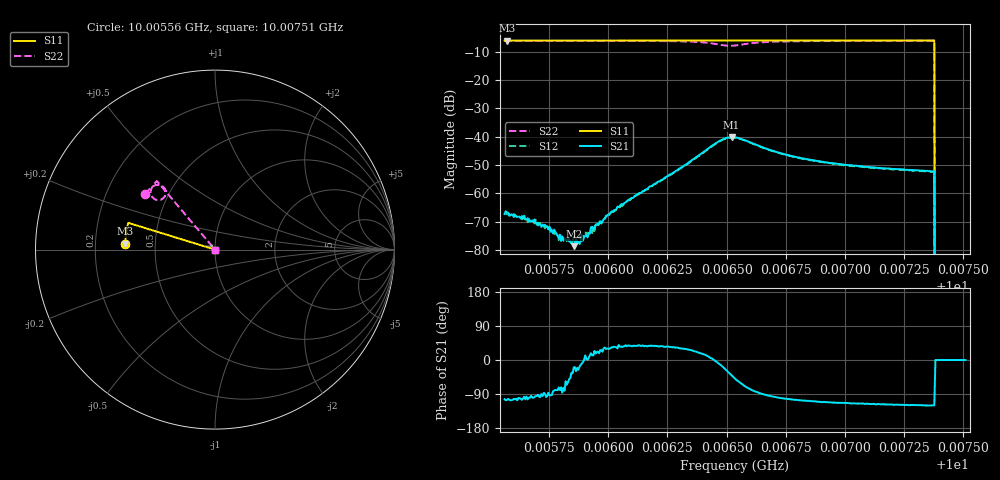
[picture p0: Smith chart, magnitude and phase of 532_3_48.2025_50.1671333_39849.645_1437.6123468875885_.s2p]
#  HZ  S  RI  R  50.00
! Rohde & Schwarz Vector Network Analyzer
! Rohde-Schwarz,ZNB20-2Port,1311601062101988,3.16
! Created: UTC 3/20/2024, 11:59:56 AM
! freq[Hz]  re:S11  im:S11  re:S21  im:S21  re:S12  im:S12  re:S22  im:S22
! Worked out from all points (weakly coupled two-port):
!   401 points, 10.00556 GHz to 10.00751 GHz, reference 50 ohm
!   highest |S21| = -40.18 dB at 10.00652 GHz (marker M1); lowest = -78.7 dB at 10.00585 GHz (marker M2)
!   lowest |S11| = -6.0 dB at 10.00557 GHz (marker M3), VSWR 3.01, Z = 16.6 + j1.5 ohm
!   |S11| at or under -10 dB: 10.00738 GHz to end of sweep
!   |S22| runs from - to -6.0 dB; largest |S21 - S12| = 0.00063
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1.0005562e10  -0.5002 0.033  -9.89e-05 -0.000417  -8.75e-05 -0.000451  -0.3881 0.3099
1.0005572e10  -0.5001 0.0337  -0.000121 -0.00044  -8.55e-05 -0.000418  -0.3877 0.3106
1.0005732e10  -0.4997 0.0443  5.08e-06 -0.000276  6.24e-06 -0.000239  -0.3803 0.3202
1.0005786e10  -0.4993 0.0477  3.15e-05 -0.000174  8.42e-06 -0.000181  -0.3776 0.3235
1.000581e10  -0.4992 0.0493  4.14e-05 -0.000139  5.59e-05 -0.000145  -0.3763 0.3251
1.0005835e10  -0.4993 0.051  8.82e-05 -0.000109  7.54e-05 -0.000143  -0.375 0.3266
1.0005854e10  -0.4991 0.0521  0.000109 -3.89e-05  0.000138 -0.0001  -0.3739 0.3278
1.0005869e10  -0.499 0.0532  0.000121 -4.56e-05  0.000133 -4.97e-05  -0.3731 0.3287
1.0005888e10  -0.499 0.0545  0.000184 -2.98e-05  0.000141 -1.83e-05  -0.372 0.33
1.0005932e10  -0.4988 0.0572  0.000249 5.36e-05  0.000191 4.65e-05  -0.3694 0.3329
1.0005985e10  -0.4985 0.0607  0.000297 0.000193  0.000305 0.000179  -0.366 0.3363
1.0006049e10  -0.4981 0.0648  0.000485 0.000351  0.000443 0.000349  -0.3616 0.3408
1.0006214e10  -0.4969 0.0755  0.00132 0.000932  0.00123 0.00101  -0.3456 0.3528
1.0006463e10  -0.4938 0.0915  0.00802 -0.000993  0.00786 -0.00052  -0.2761 0.3314
1.0006521e10  -0.4933 0.0946  0.00744 -0.00637  0.00767 -0.00578  -0.2903 0.2845
1.0006536e10  -0.4932 0.0954  0.00638 -0.00735  0.00663 -0.00685  -0.302 0.2781
1.0006716e10  -0.4922 0.1069  -0.000817 -0.00522  -0.000535 -0.00519  -0.3581 0.3226
1.0006862e10  -0.4902 0.1162  -0.00125 -0.00366  -0.00107 -0.00363  -0.352 0.3451
1.0007188e10  -0.4856 0.137  -0.00127 -0.00242  -0.00115 -0.00242  -0.3339 0.3712
1.0007368e10  -0.4828 0.1481  -0.0012 -0.00212  -0.0011 -0.00214  -0.3245 0.3816
1.0007393e10  0 0  0 0  0 0  0 0
1.0007509e10  0 0  0 0  0 0  0 0
